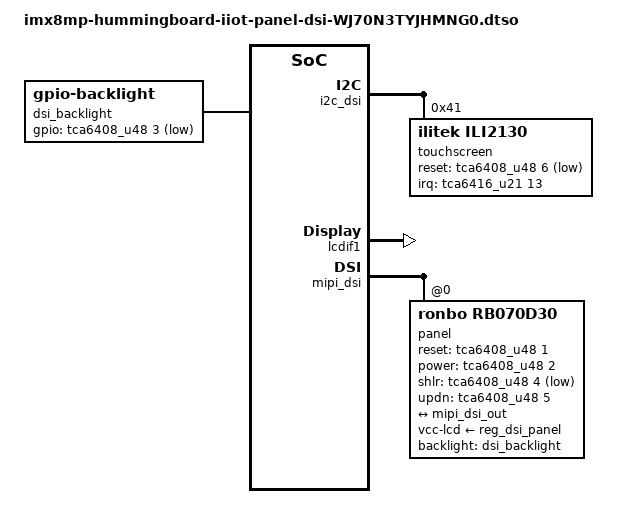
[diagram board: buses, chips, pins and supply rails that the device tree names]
// SPDX-License-Identifier: (GPL-2.0+ OR MIT)
/*
 * Copyright 2025 Josua Mayer <josua@solid-run.com>
 *
 * Overlay for enabling HummingBoard IIoT MIPI-DSI connector
 * with Winstar WJ70N3TYJHMNG0 panel.
 */

/dts-v1/;
/plugin/;

#include <dt-bindings/gpio/gpio.h>
#include <dt-bindings/interrupt-controller/irq.h>

&{/} {
	dsi_backlight: dsi-backlight {
		compatible = "gpio-backlight";
		gpios = <&tca6408_u48 3 GPIO_ACTIVE_LOW>;
	};
};

&i2c_dsi {
	#address-cells = <1>;
	#size-cells = <0>;

	touchscreen@41 {
		compatible = "ilitek,ili2130";
		reg = <0x41>;
		interrupts-extended = <&tca6416_u21 13 IRQ_TYPE_LEVEL_LOW>;
		reset-gpios = <&tca6408_u48 6 GPIO_ACTIVE_LOW>;
	};
};

&lcdif1 {
	status = "okay";
};

&mipi_dsi {
	#address-cells = <1>;
	#size-cells = <0>;
	samsung,esc-clock-frequency = <10000000>;
	status = "okay";

	panel@0 {
		/* This is a Winstar panel, but the ronbo panel uses same controls. */
		compatible = "ronbo,rb070d30";
		reg = <0>;
		/* reset is active-low but driver inverts it internally */
		reset-gpios = <&tca6408_u48 1 GPIO_ACTIVE_HIGH>;
		backlight = <&dsi_backlight>;
		power-gpios = <&tca6408_u48 2 GPIO_ACTIVE_HIGH>;
		shlr-gpios = <&tca6408_u48 4 GPIO_ACTIVE_LOW>;
		updn-gpios = <&tca6408_u48 5 GPIO_ACTIVE_HIGH>;
		vcc-lcd-supply = <&reg_dsi_panel>;

		port {
			panel_from_dsim: endpoint {
				remote-endpoint = <&mipi_dsi_out>;
			};
		};
	};
};

&mipi_dsi_out {
	data-lanes = <1 2 3 4>;
	remote-endpoint = <&panel_from_dsim>;
};
